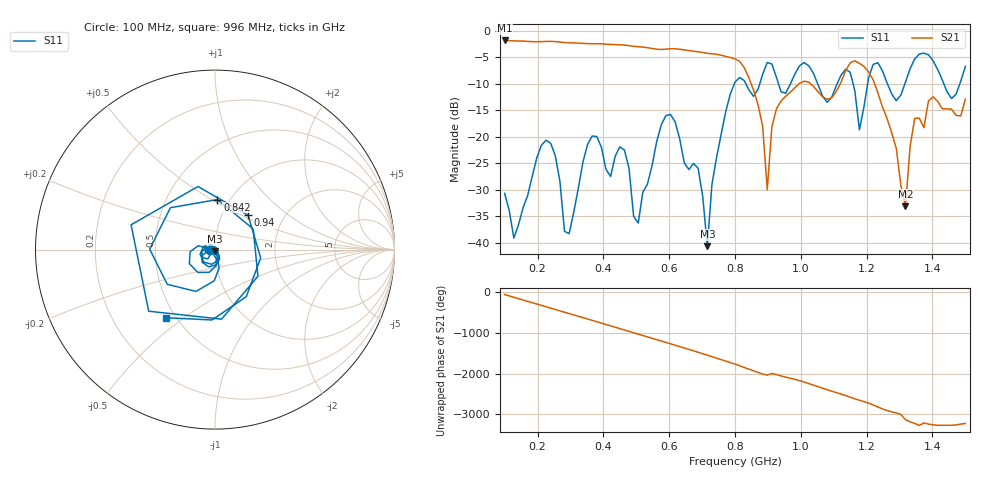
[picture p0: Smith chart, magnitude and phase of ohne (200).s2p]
! NanoVNA-App
! Date: 2025-09-25 14:22:21
! Start: 100MHz Stop: 1,5GHz Points: 101
! S-Parameter data: F S11 S21 S12 S22
# Hz S RI R 50
!  Frequency  S11_Real  S11_Imag  S21_Real  S21_Imag  S12_Real  S12_Imag  S22_Real  S22_Imag
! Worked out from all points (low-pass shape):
!   101 points, 100 MHz to 1.5 GHz, reference 50 ohm
!   highest |S21| = -1.79 dB at 100 MHz (marker M1); lowest = -33.1 dB at 1.318 GHz (marker M2)
!   |S21| within 3 dB of the highest: start of sweep to 771.4 MHz
!   lowest |S11| = -40.6 dB at 716 MHz (marker M3), VSWR 1.02, Z = 49.7 - j0.887 ohm
!   |S11| at or under -10 dB: start of sweep to 797.8 MHz; 833.2 MHz to 875 MHz (41.75 MHz wide, 4.89 % of centre); 1.051 GHz to 1.11 GHz (58.61 MHz wide, 5.42 % of centre) (the widest 3 of 7)
!   S12 and S22 are empty: the file has one direction only
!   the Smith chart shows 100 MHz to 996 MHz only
!   S11 on the Smith chart (normalised r, x): 100 MHz: 0.94, -0.01; 842 MHz: 0.88, +0.53; 940 MHz: 1.32, +0.55; 996 MHz: 0.44, -0.43
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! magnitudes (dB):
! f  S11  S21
! 100 MHz  -30.6  -1.8
! 128 MHz  -39.1  -1.9
! 226 MHz  -20.6  -2.0
! 296 MHz  -38.2  -2.2
! 338 MHz  -24.7  -2.3
! 464 MHz  -22.5  -2.7
! 506 MHz  -36.2  -3.0
! 576 MHz  -17.7  -3.5
! 688 MHz  -25.9  -3.9
! 716 MHz  -40.6  -4.2
! 800 MHz  -9.7  -5.3
! 842 MHz  -11.1  -8.8
! 898 MHz  -5.9  -29.9
! 940 MHz  -11.5  -13.2
! 996 MHz  -6.6  -9.9
! 1.038 GHz  -7.9  -10.4
! 1.178 GHz  -18.6  -6.1
! 1.22 GHz  -6.3  -9.3
! 1.276 GHz  -11.9  -19.2
! 1.318 GHz  -9.7  -33.1
! 1.346 GHz  -5.3  -16.5
! 1.5 GHz  -6.7  -12.9
